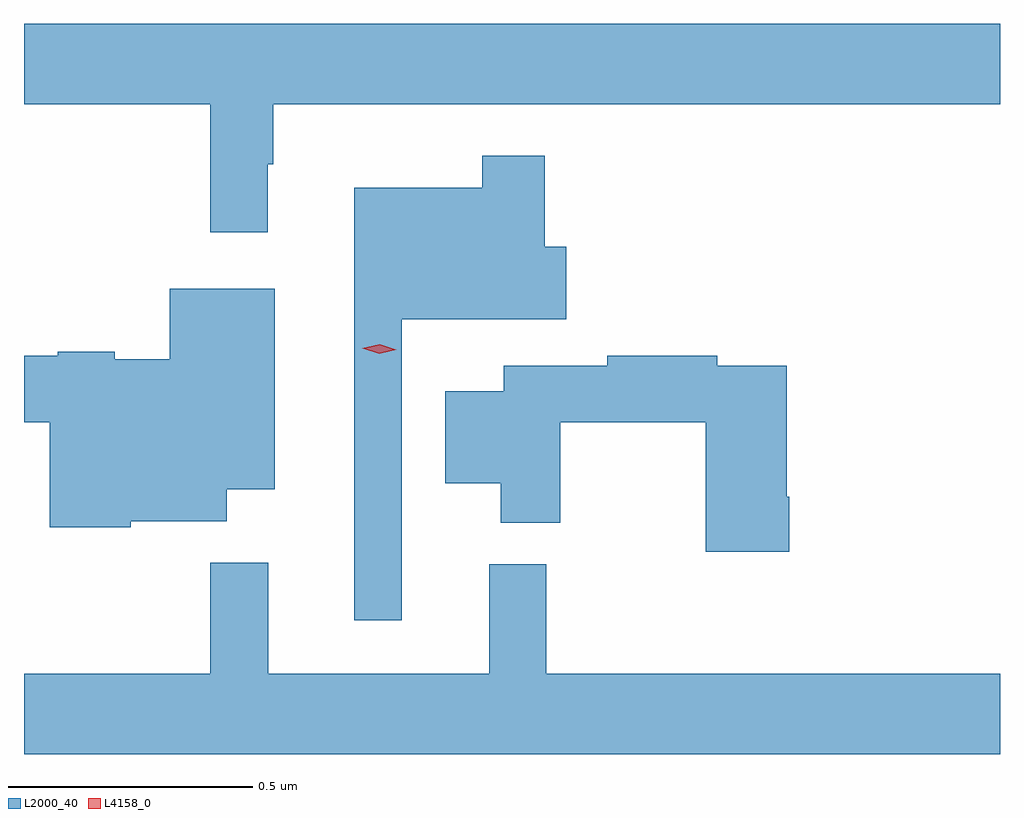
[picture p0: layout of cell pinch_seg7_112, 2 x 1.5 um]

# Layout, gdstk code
import gdstk
lib = gdstk.Library(unit=1e-6, precision=1e-09)
def P(c, l, *ps):  # polygons
    for p in ps: c.add(gdstk.Polygon(p, *l))
L2000_40 = (2000, 40)
L4158_0 = (4158, 0)

pinch_seg7_112 = lib.new_cell('pinch_seg7_112')
P(pinch_seg7_112, L2000_40, [(924.352,1004.489),(924.364,1004.489),(924.364,1004.612),(925.853,1004.612),(925.853,1004.776),(923.853,1004.776),(923.853,1004.612),(924.235,1004.612),(924.235,1004.349),(924.352,1004.349)],
  [(924.627,1004.171),(924.964,1004.171),(924.964,1004.319),(924.92,1004.319),(924.92,1004.506),(924.792,1004.506),(924.792,1004.44),(924.53,1004.44),(924.53,1003.554),(924.627,1003.554)],
  [(924.072,1003.757),(924.268,1003.757),(924.268,1003.823),(924.367,1003.823),(924.367,1004.233),(924.152,1004.233),(924.152,1004.089),(924.039,1004.089),(924.039,1004.104),(923.922,1004.104),(923.922,1004.096),(923.853,1004.096),(923.853,1003.96),(923.906,1003.96),(923.906,1003.745),(924.072,1003.745)],
  [(925.421,1003.807),(925.416,1003.807),(925.416,1004.076),(925.274,1004.076),(925.274,1004.096),(925.048,1004.096),(925.048,1004.076),(924.836,1004.076),(924.836,1004.023),(924.716,1004.023),(924.716,1003.835),(924.83,1003.835),(924.83,1003.754),(924.952,1003.754),(924.952,1003.96),(925.25,1003.96),(925.25,1003.695),(925.421,1003.695)],
  [(925.853,1003.444),(924.923,1003.444),(924.923,1003.669),(924.806,1003.669),(924.806,1003.444),(924.353,1003.444),(924.353,1003.672),(924.235,1003.672),(924.235,1003.444),(923.853,1003.444),(923.853,1003.28),(925.853,1003.28)])
P(pinch_seg7_112, L4158_0, [(924.581,1004.1),(924.546,1004.112),(924.546,1004.112),(924.546,1004.112),(924.582,1004.12),(924.616,1004.108),(924.616,1004.108),(924.616,1004.108)])

lib.write_gds('pinch_seg7_112.gds')
